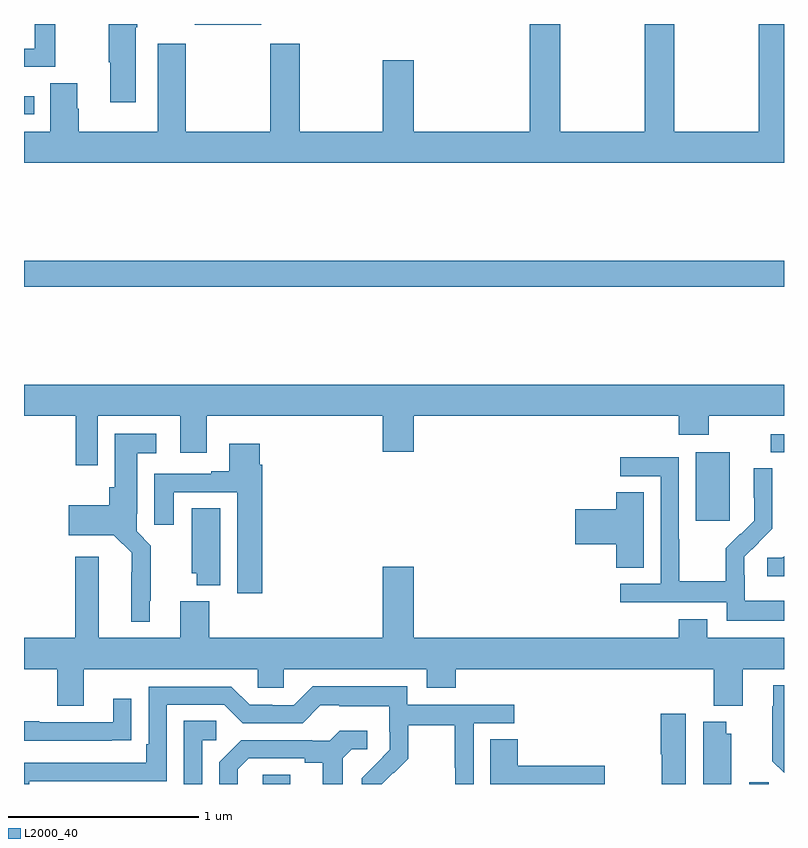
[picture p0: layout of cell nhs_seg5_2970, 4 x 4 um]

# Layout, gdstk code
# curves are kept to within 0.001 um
import gdstk
lib = gdstk.Library(unit=1e-6, precision=1e-09)
def R(c, l, rs):  # rectangles x0, y0, x1, y1
    for r in rs: c.add(gdstk.rectangle(r[:2], r[2:], *l))
def P(c, l, *ps):  # polygons
    for p in ps: c.add(gdstk.Polygon(p, *l))
L2000_40 = (2000, 40)

nhs_seg5_2970 = lib.new_cell('nhs_seg5_2970')
R(nhs_seg5_2970, L2000_40, [(284.256,878.799,284.401,878.849), (286.817,878.799,286.921,878.809), (286.535,880.185,286.714,880.546), (286.929,880.545,287,880.641), (283,881.416,287,881.552), (283,882.324,283.054,882.42), (283.898,882.794,284.248,882.799)])
P(nhs_seg5_2970, L2000_40, [(283.588,882.781),(283.596,882.781),(283.596,882.799),(283.447,882.799),(283.447,882.599),(283.454,882.599),(283.454,882.387),(283.588,882.387)],
  [(283.165,882.799),(283.056,882.799),(283.056,882.669),(283,882.669),(283,882.573),(283.165,882.573)],
  [(286.267,882.232),(285.822,882.232),(285.822,882.799),(285.662,882.799),(285.662,882.232),(285.052,882.232),(285.052,882.607),(284.888,882.607),(284.888,882.232),(284.451,882.232),(284.451,882.694),(284.296,882.694),(284.296,882.232),(283.851,882.232),(283.851,882.694),(283.703,882.694),(283.703,882.232),(283.287,882.232),(283.287,882.354),(283.279,882.354),(283.279,882.488),(283.139,882.488),(283.139,882.232),(283,882.232),(283,882.068),(287,882.068),(287,882.799),(286.867,882.799),(286.867,882.232),(286.422,882.232),(286.422,882.799),(286.267,882.799)],
  [(283.389,880.736),(283.823,880.736),(283.823,880.542),(283.963,880.542),(283.963,880.736),(284.888,880.736),(284.888,880.548),(285.052,880.548),(285.052,880.736),(286.445,880.736),(286.445,880.637),(286.605,880.637),(286.605,880.736),(287,880.736),(287,880.9),(283,880.9),(283,880.736),(283.273,880.736),(283.273,880.476),(283.389,880.476)],
  [(283.663,879.763),(283.667,879.763),(283.667,880.054),(283.593,880.128),(283.593,880.222),(283.597,880.222),(283.597,880.541),(283.696,880.541),(283.696,880.642),(283.478,880.642),(283.478,880.362),(283.448,880.362),(283.448,880.267),(283.236,880.267),(283.236,880.109),(283.473,880.109),(283.566,880.016),(283.565,879.653),(283.663,879.653)],
  [(284.255,880.478),(284.242,880.478),(284.242,880.591),(284.081,880.591),(284.081,880.444),(283.985,880.444),(283.985,880.431),(283.685,880.431),(283.685,880.164),(283.789,880.164),(283.789,880.335),(284.123,880.335),(284.123,879.804),(284.255,879.804)],
  [(287,879.763),(286.794,879.763),(286.794,879.897),(286.792,879.897),(286.792,879.994),(286.938,880.142),(286.938,880.46),(286.842,880.46),(286.842,880.306),(286.844,880.306),(286.844,880.184),(286.773,880.113),(286.77,880.116),(286.693,880.039),(286.693,879.865),(286.449,879.865),(286.449,880.088),(286.446,880.088),(286.446,880.518),(286.137,880.518),(286.137,880.419),(286.35,880.419),(286.35,879.852),(286.137,879.852),(286.137,879.756),(286.698,879.756),(286.698,879.659),(287,879.659)],
  [(286.261,880.334),(286.118,880.334),(286.118,880.244),(285.9,880.244),(285.9,880.061),(286.118,880.061),(286.118,879.937),(286.261,879.937)],
  [(284.032,880.25),(283.883,880.25),(283.883,879.909),(283.91,879.909),(283.91,879.845),(284.032,879.845)],
  [(287,879.998),(286.992,879.99),(286.911,879.99),(286.911,879.893),(287,879.893)],
  [(284.229,879.306),(284.367,879.306),(284.367,879.404),(285.119,879.404),(285.119,879.305),(285.272,879.305),(285.272,879.404),(286.631,879.404),(286.631,879.212),(286.783,879.212),(286.783,879.404),(287,879.404),(287,879.568),(286.597,879.568),(286.597,879.667),(286.445,879.667),(286.445,879.568),(285.052,879.568),(285.052,879.943),(284.888,879.943),(284.888,879.568),(283.976,879.568),(283.976,879.76),(283.823,879.76),(283.823,879.568),(283.393,879.568),(283.393,879.994),(283.271,879.994),(283.271,879.568),(283,879.568),(283,879.404),(283.175,879.404),(283.175,879.21),(283.315,879.21),(283.315,879.404),(284.229,879.404)],
  [(287,879.319),(286.943,879.319),(286.943,879.209),(286.939,879.209),(286.939,878.918),(287,878.857)],
  [(283.028,878.814),(283.752,878.814),(283.752,879.216),(284.055,879.216),(284.151,879.12),(284.466,879.12),(284.559,879.213),(284.659,879.213),(284.659,879.209),(284.922,879.209),(284.922,879.075),(284.924,879.075),(284.924,878.978),(284.778,878.83),(284.778,878.799),(284.883,878.799),(284.943,878.859),(284.946,878.856),(285.023,878.933),(285.023,879.108),(285.268,879.108),(285.268,878.884),(285.27,878.884),(285.27,878.799),(285.366,878.799),(285.366,879.12),(285.58,879.12),(285.58,879.216),(285.018,879.216),(285.018,879.313),(284.521,879.313),(284.421,879.213),(284.306,879.213),(284.306,879.216),(284.187,879.216),(284.091,879.312),(283.656,879.312),(283.656,879.007),(283.643,879.007),(283.643,878.91),(283,878.91),(283,878.799),(283.028,878.799)],
  [(283.463,879.028),(283.565,879.028),(283.565,879.247),(283.469,879.247),(283.469,879.123),(283.079,879.123),(283.079,879.128),(283,879.128),(283,879.027),(283.463,879.027)],
  [(286.483,879.169),(286.352,879.169),(286.352,878.956),(286.357,878.956),(286.357,878.799),(286.483,878.799)],
  [(283.938,879.03),(284.011,879.03),(284.011,879.131),(283.842,879.131),(283.842,878.799),(283.938,878.799)],
  [(286.723,879.063),(286.696,879.063),(286.696,879.127),(286.574,879.127),(286.574,878.799),(286.723,878.799)],
  [(284.125,878.877),(284.182,878.934),(284.477,878.934),(284.477,878.912),(284.573,878.912),(284.573,878.799),(284.677,878.799),(284.677,878.935),(284.724,878.982),(284.806,878.982),(284.806,879.079),(284.662,879.079),(284.61,879.027),(284.516,879.027),(284.516,879.03),(284.144,879.03),(284.028,878.914),(284.028,878.799),(284.125,878.799)],
  [(286.057,878.894),(285.599,878.894),(285.599,879.035),(285.455,879.035),(285.455,878.799),(286.057,878.799)])

lib.write_gds('nhs_seg5_2970.gds')
